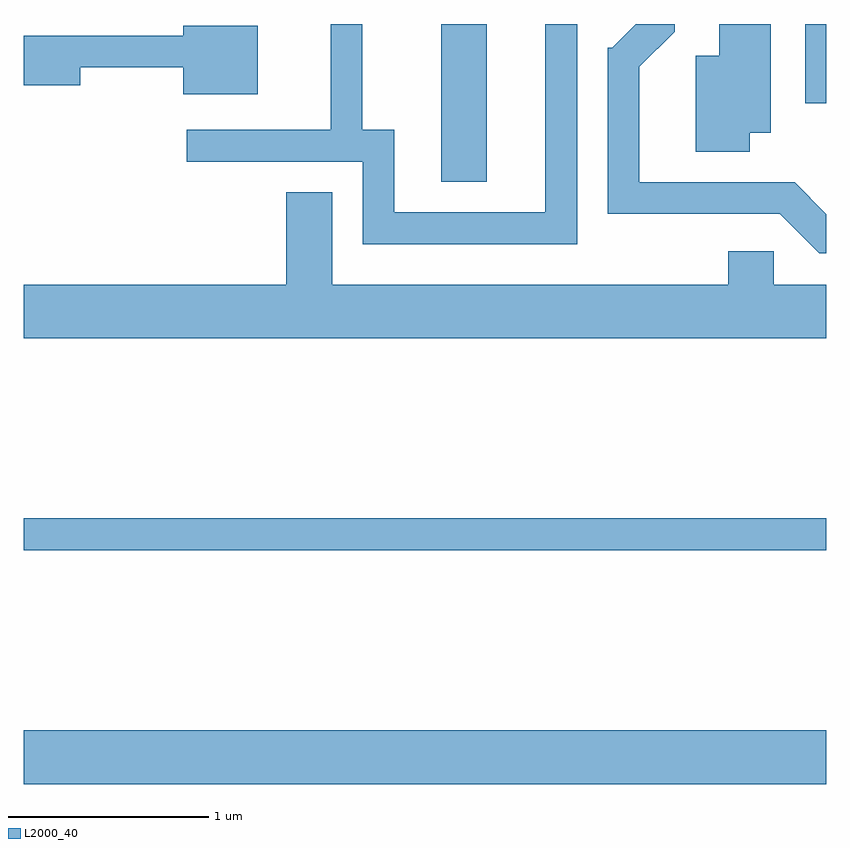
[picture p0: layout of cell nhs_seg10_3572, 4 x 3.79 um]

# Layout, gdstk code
import gdstk
lib = gdstk.Library(unit=1e-6, precision=1e-09)
def R(c, l, rs):  # rectangles x0, y0, x1, y1
    for r in rs: c.add(gdstk.rectangle(r[:2], r[2:], *l))
def P(c, l, *ps):  # polygons
    for p in ps: c.add(gdstk.Polygon(p, *l))
L2000_40 = (2000, 40)

nhs_seg10_3572 = lib.new_cell('nhs_seg10_3572')
R(nhs_seg10_3572, L2000_40, [(289.611,2182.736,293.611,2183.004), (289.611,2183.901,293.611,2184.059), (291.691,2185.736,291.919,2186.522), (293.506,2186.128,293.611,2186.522)])
P(nhs_seg10_3572, L2000_40, [(293.229,2185.981),(293.334,2185.981),(293.334,2186.522),(293.076,2186.522),(293.076,2186.364),(292.961,2186.364),(292.961,2185.886),(293.229,2185.886)],
  [(292.369,2186.522),(292.211,2186.522),(292.211,2185.584),(291.459,2185.584),(291.459,2185.994),(291.299,2185.994),(291.299,2186.522),(291.141,2186.522),(291.141,2185.994),(290.423,2185.994),(290.423,2185.836),(291.301,2185.836),(291.301,2185.426),(292.369,2185.426)],
  [(293.611,2185.575),(293.452,2185.734),(292.679,2185.734),(292.679,2186.309),(292.854,2186.484),(292.854,2186.522),(292.661,2186.522),(292.544,2186.404),(292.521,2186.404),(292.521,2185.576),(293.379,2185.576),(293.574,2185.381),(293.611,2185.381)],
  [(290.779,2186.514),(290.406,2186.514),(290.406,2186.464),(289.611,2186.464),(289.611,2186.216),(289.894,2186.216),(289.894,2186.306),(290.406,2186.306),(290.406,2186.171),(290.779,2186.171)],
  [(293.611,2185.224),(293.349,2185.224),(293.349,2185.389),(293.121,2185.389),(293.121,2185.224),(291.149,2185.224),(291.149,2185.684),(290.921,2185.684),(290.921,2185.224),(289.611,2185.224),(289.611,2184.956),(293.611,2184.956)])

lib.write_gds('nhs_seg10_3572.gds')
